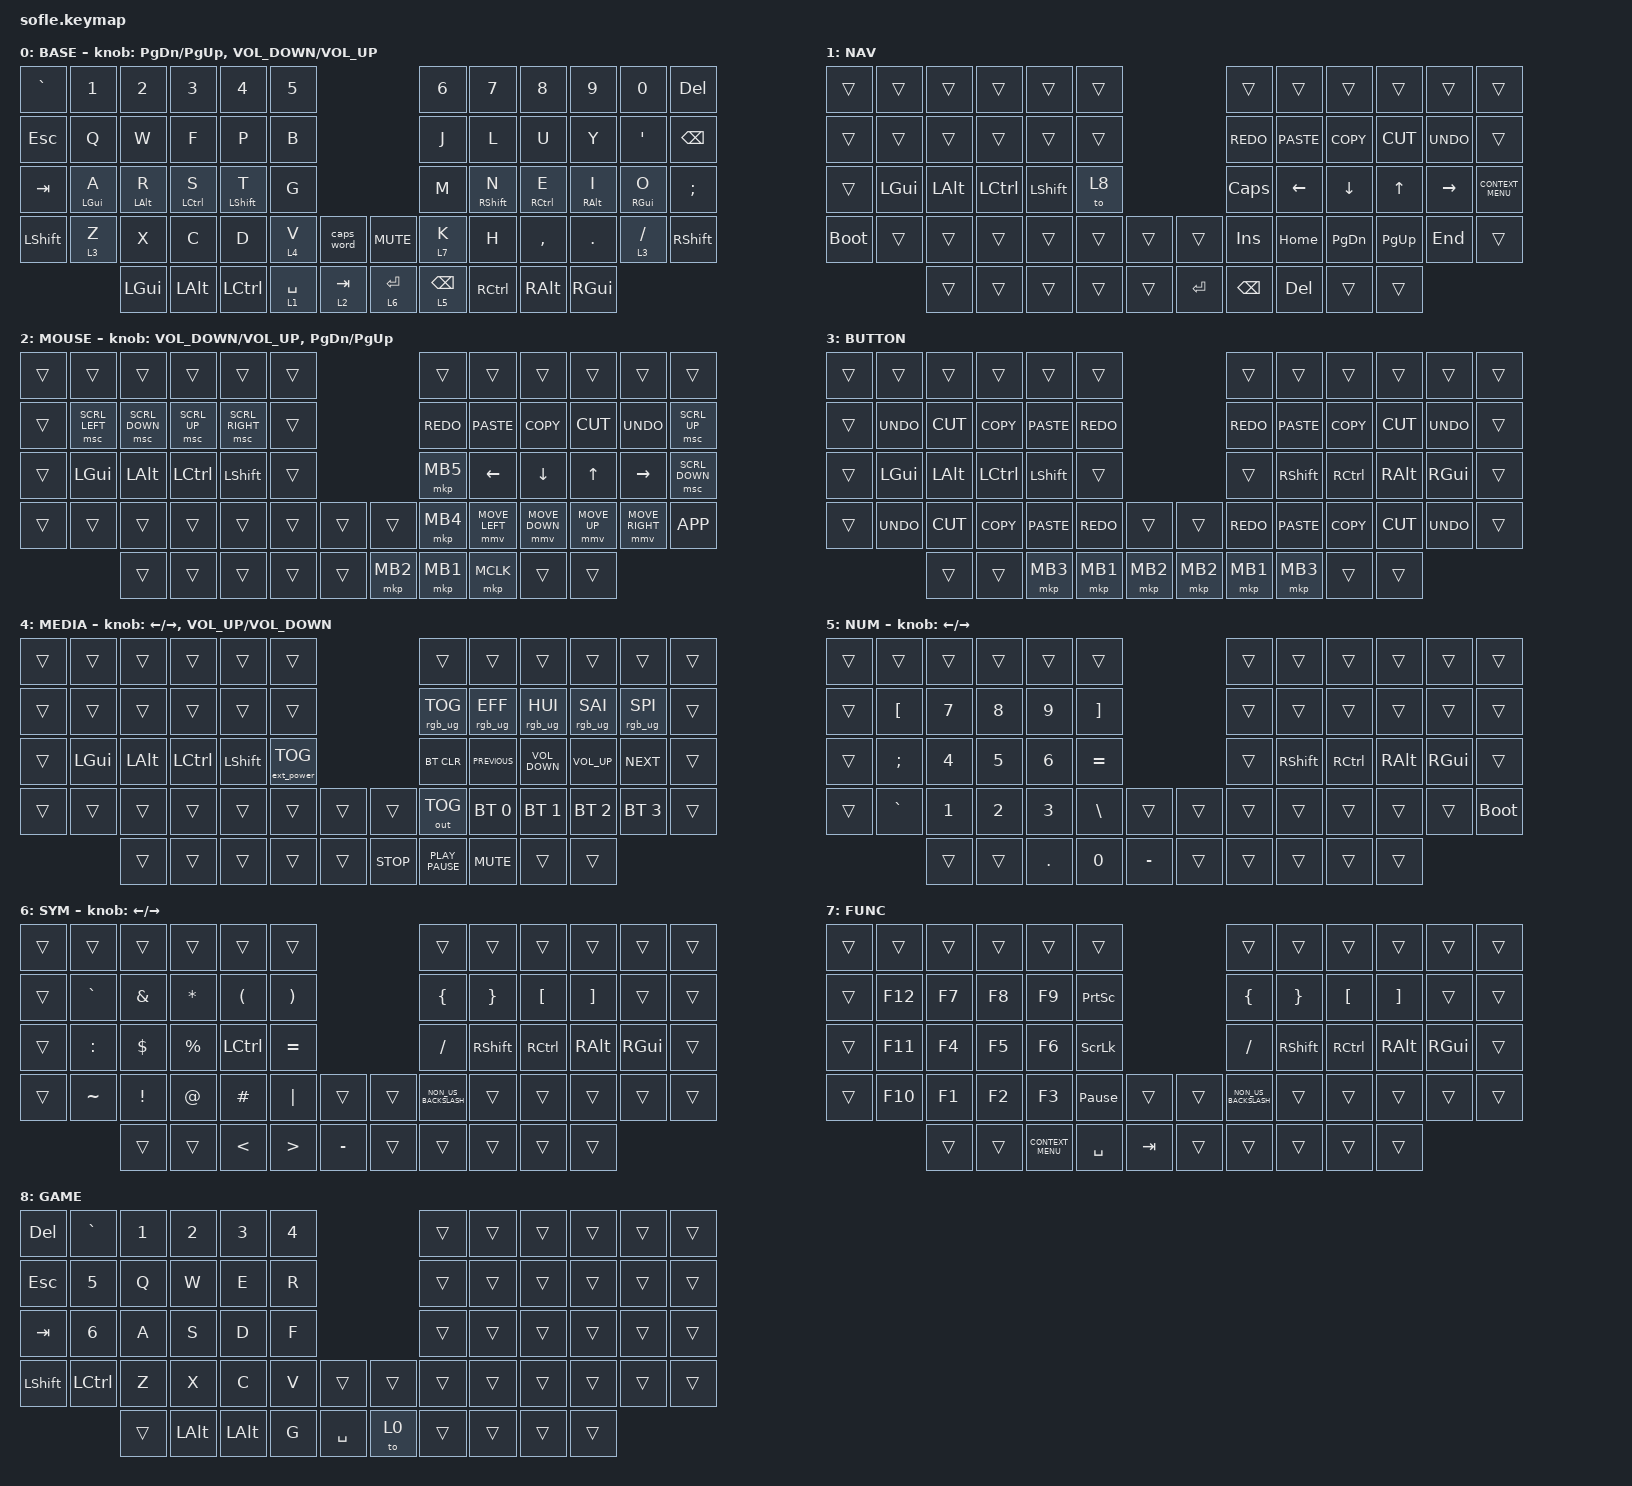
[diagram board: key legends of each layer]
/*
 * Copyright (c) 2020 The ZMK Contributors
 *
 * SPDX-License-Identifier: MIT
 */

#include <behaviors.dtsi>
#include <dt-bindings/zmk/bt.h>
#include <dt-bindings/zmk/ext_power.h>
#include <dt-bindings/zmk/keys.h>
#include <dt-bindings/zmk/outputs.h>
#include <dt-bindings/zmk/pointing.h>
#include <dt-bindings/zmk/rgb.h>
#include "zmk-helpers/helper.h"

// Source desired key-position labels

#include "zmk-helpers/key-labels/glove80.h"

// Source unicode-chars for desired languages

#include "zmk-helpers/unicode-chars/german.dtsi"

#define BASE 0
#define NAV 1
#define MOUSE 2
#define BUTTON 3
#define MEDIA 4
#define NUM 5
#define SYM 6
#define FUNC 7
#define GAME 8

&sk {
    release-after-ms = <1000>;
    quick-release;
    lazy;
    ignore-modifiers;
};

&mmv {
    acceleration-exponent = <1>;          // 1
    time-to-max-speed-ms = <500>;         // 300
    delay-ms = <0>;                       // 0
};

&lt {
    tapping-term-ms = <220>; // default 200
    flavor = "tap-preferred"; // or hold-preferred or tap-preferred
    quick-tap-ms = <180>;
};

/ {
    behaviors {
        bhm: balanced_homerow_mods {
            compatible = "zmk,behavior-hold-tap";
            #binding-cells = <2>;
            tapping-term-ms = <220>;    // <---[[moderate duration]]
            quick-tap-ms = <180>;
            flavor = "tap-preferred";
            bindings = <&kp>, <&kp>;
        };
    };

    // Activate ADJUST layer by pressing raise and lower

    conditional_layers {
        compatible = "zmk,conditional-layers";

        adjust_layer {
            if-layers = <1 1>;
            then-layer = <1>;
        };
    };

    keymap {
        compatible = "zmk,keymap";

        Base {
            label = "BASE";
            display-name = "BASE";

            // ------------------------------------------------------------------------------------------------------------
            // |   `   |  1  |  2  |  3   |  4   |  5   |                   |  6   |  7    |  8    |  9   |   0   |       |
            // |  ESC  |  Q  |  W  |  E   |  R   |  T   |                   |  Y   |  U    |  I    |  O   |   P   | BKSPC |
            // |  TAB  |  A  |  S  |  D   |  F   |  G   |                   |  H   |  J    |  K    |  L   |   ;   |   '   |
            // | SHIFT |  Z  |  X  |  C   |  V   |  B   |  MUTE  |  |       |  N   |  M    |  ,    |  .   |   /   | SHIFT |
            //               | GUI | ALT  | CTRL | LOWER|  ENTER |  | SPACE | RAISE| CTRL  | ALT   | GUI  |

            bindings = <
&kp GRAVE   &kp N1           &kp N2           &kp N3        &kp N4             &kp N5                                  &kp N6           &kp N7              &kp N8        &kp N9            &kp N0            &kp DELETE
&kp ESCAPE  &kp Q            &kp W            &kp F         &kp P              &kp B                                   &kp J            &kp L               &kp U         &kp Y             &kp APOSTROPHE    &kp BACKSPACE
&kp TAB     &bhm LEFT_GUI A  &bhm LEFT_ALT R  &bhm LCTRL S  &bhm LEFT_SHIFT T  &kp G                                   &kp M            &bhm RIGHT_SHIFT N  &bhm RCTRL E  &bhm RIGHT_ALT I  &bhm RIGHT_GUI O  &kp SEMICOLON
&kp LSHFT   &lt 3 Z          &kp X            &kp C         &kp D              &lt 4 V      &caps_word    &kp K_MUTE   &lt 7 K          &kp H               &kp COMMA     &kp DOT           &lt 3 SLASH       &kp RSHFT
                             &kp LGUI         &kp LALT      &kp LCTRL          &lt 1 SPACE  &lt 2 TAB     &lt 6 ENTER  &lt 5 BACKSPACE  &kp RCTRL           &kp RALT      &kp RGUI
            >;

            sensor-bindings =
                <&inc_dec_kp PAGE_DOWN PAGE_UP>,
                <&inc_dec_kp C_VOLUME_DOWN C_VOLUME_UP>;
        };

        NAVIGATION {
            label = "NAV";
            display-name = "NAV";
            bindings = <
&trans       &trans        &trans        &trans     &trans          &trans                       &trans         &trans          &trans         &trans        &trans      &trans
&trans       &trans        &trans        &trans     &trans          &trans                       &kp K_REDO     &kp K_PASTE     &kp K_COPY     &kp K_CUT     &kp K_UNDO  &trans
&trans       &kp LEFT_GUI  &kp LEFT_ALT  &kp LCTRL  &kp LEFT_SHIFT  &to 8                        &kp CAPS       &kp LEFT_ARROW  &kp DOWN       &kp UP_ARROW  &kp RIGHT   &kp K_CONTEXT_MENU
&bootloader  &trans        &trans        &trans     &trans          &trans  &trans    &trans     &kp INSERT     &kp HOME        &kp PAGE_DOWN  &kp PAGE_UP   &kp END     &trans
                           &trans        &trans     &trans          &trans  &trans    &kp ENTER  &kp BACKSPACE  &kp DELETE      &trans         &trans
            >;
        };

        MOUSE {
            label = "MOUSE";
            display-name = "MOUSE";
            bindings = <
&trans  &trans          &trans          &trans        &trans           &trans                      &trans      &trans          &trans          &trans        &trans           &trans
&trans  &msc SCRL_LEFT  &msc SCRL_DOWN  &msc SCRL_UP  &msc SCRL_RIGHT  &trans                      &kp K_REDO  &kp K_PASTE     &kp K_COPY      &kp K_CUT     &kp K_UNDO       &msc SCRL_UP
&trans  &kp LEFT_GUI    &kp LEFT_ALT    &kp LCTRL     &kp LEFT_SHIFT   &trans                      &mkp MB5    &kp LEFT_ARROW  &kp DOWN        &kp UP_ARROW  &kp RIGHT        &msc SCRL_DOWN
&trans  &trans          &trans          &trans        &trans           &trans  &trans    &trans    &mkp MB4    &mmv MOVE_LEFT  &mmv MOVE_DOWN  &mmv MOVE_UP  &mmv MOVE_RIGHT  &kp K_APP
                        &trans          &trans        &trans           &trans  &trans    &mkp MB2  &mkp MB1    &mkp MCLK       &trans          &trans
            >;

            sensor-bindings =
                <&inc_dec_kp C_VOLUME_DOWN C_VOLUME_UP>,
                <&inc_dec_kp PAGE_DOWN PAGE_UP>;
        };

        BUTTON {
            label = "BUTTON";
            display-name = "BUTTON";
            bindings = <
&trans  &trans        &trans        &trans      &trans          &trans                            &trans      &trans           &trans      &trans         &trans      &trans
&trans  &kp K_UNDO    &kp K_CUT     &kp K_COPY  &kp K_PASTE     &kp K_REDO                        &kp K_REDO  &kp K_PASTE      &kp K_COPY  &kp K_CUT      &kp K_UNDO  &trans
&trans  &kp LEFT_GUI  &kp LEFT_ALT  &kp LCTRL   &kp LEFT_SHIFT  &trans                            &trans      &kp RIGHT_SHIFT  &kp RCTRL   &kp RIGHT_ALT  &kp RGUI    &trans
&trans  &kp K_UNDO    &kp K_CUT     &kp K_COPY  &kp K_PASTE     &kp K_REDO  &trans      &trans    &kp K_REDO  &kp K_PASTE      &kp K_COPY  &kp K_CUT      &kp K_UNDO  &trans
                      &trans        &trans      &mkp MB3        &mkp MB1    &mkp MB2    &mkp MB2  &mkp MB1    &mkp MB3         &trans      &trans
            >;
        };

        MEDIA {
            label = "MEDIA";
            display-name = "MEDIA";
            bindings = <
&trans  &trans        &trans        &trans     &trans          &trans                                   &trans            &trans           &trans             &trans           &trans           &trans
&trans  &trans        &trans        &trans     &trans          &trans                                   &rgb_ug RGB_TOG   &rgb_ug RGB_EFF  &rgb_ug RGB_HUI    &rgb_ug RGB_SAI  &rgb_ug RGB_SPI  &trans
&trans  &kp LEFT_GUI  &kp LEFT_ALT  &kp LCTRL  &kp LEFT_SHIFT  &ext_power EP_TOG                        &bt BT_CLR        &kp K_PREVIOUS   &kp K_VOLUME_DOWN  &kp K_VOLUME_UP  &kp K_NEXT       &trans
&trans  &trans        &trans        &trans     &trans          &trans             &trans    &trans      &out OUT_TOG      &bt BT_SEL 0     &bt BT_SEL 1       &bt BT_SEL 2     &bt BT_SEL 3     &trans
                      &trans        &trans     &trans          &trans             &trans    &kp K_STOP  &kp K_PLAY_PAUSE  &kp K_MUTE       &trans             &trans
            >;

            sensor-bindings =
                <&inc_dec_kp LEFT_ARROW RIGHT_ARROW>,
                <&inc_dec_kp C_VOLUME_UP C_VOLUME_DOWN>;
        };

        Num {
            label = "NUM";
            display-name = "NUM";
            bindings = <
&trans  &trans            &trans        &trans        &trans        &trans                                  &trans  &trans           &trans     &trans         &trans    &trans
&trans  &kp LEFT_BRACKET  &kp NUMBER_7  &kp NUMBER_8  &kp NUMBER_9  &kp RIGHT_BRACKET                       &trans  &trans           &trans     &trans         &trans    &trans
&trans  &kp SEMICOLON     &kp NUMBER_4  &kp NUMBER_5  &kp NUMBER_6  &kp EQUAL                               &trans  &kp RIGHT_SHIFT  &kp RCTRL  &kp RIGHT_ALT  &kp RGUI  &trans
&trans  &kp GRAVE         &kp NUMBER_1  &kp NUMBER_2  &kp NUMBER_3  &kp BACKSLASH      &trans       &trans  &trans  &trans           &trans     &trans         &trans    &bootloader
                          &trans        &trans        &kp PERIOD    &kp NUMBER_0       &kp MINUS    &trans  &trans  &trans           &trans     &trans
            >;

            sensor-bindings = <&inc_dec_kp LEFT_ARROW RIGHT_ARROW>;
        };

        Sym {
            label = "SYM";
            display-name = "SYM";
            bindings = <
&trans  &trans     &trans           &trans        &trans                &trans                                      &trans                &trans           &trans            &trans             &trans    &trans
&trans  &kp GRAVE  &kp AMPERSAND    &kp ASTERISK  &kp LEFT_PARENTHESIS  &kp RIGHT_PARENTHESIS                       &kp LEFT_BRACE        &kp RIGHT_BRACE  &kp LEFT_BRACKET  &kp RIGHT_BRACKET  &trans    &trans
&trans  &kp COLON  &kp DOLLAR       &kp PERCENT   &kp LCTRL             &kp EQUAL                                   &kp SLASH             &kp RIGHT_SHIFT  &kp RCTRL         &kp RIGHT_ALT      &kp RGUI  &trans
&trans  &kp TILDE  &kp EXCLAMATION  &kp AT_SIGN   &kp HASH              &kp PIPE               &trans       &trans  &kp NON_US_BACKSLASH  &trans           &trans            &trans             &trans    &trans
                   &trans           &trans        &kp LESS_THAN         &kp GREATER_THAN       &kp MINUS    &trans  &trans                &trans           &trans            &trans
            >;

            sensor-bindings = <&inc_dec_kp LEFT_ARROW RIGHT>;
        };

        Fun {
            label = "FUNC";
            display-name = "FUNC";
            bindings = <
&trans  &trans   &trans  &trans  &trans              &trans                              &trans                &trans           &trans            &trans             &trans    &trans
&trans  &kp F12  &kp F7  &kp F8  &kp F9              &kp PRINTSCREEN                     &kp LEFT_BRACE        &kp RIGHT_BRACE  &kp LEFT_BRACKET  &kp RIGHT_BRACKET  &trans    &trans
&trans  &kp F11  &kp F4  &kp F5  &kp F6              &kp SCROLLLOCK                      &kp SLASH             &kp RIGHT_SHIFT  &kp RCTRL         &kp RIGHT_ALT      &kp RGUI  &trans
&trans  &kp F10  &kp F1  &kp F2  &kp F3              &kp PAUSE_BREAK  &trans     &trans  &kp NON_US_BACKSLASH  &trans           &trans            &trans             &trans    &trans
                 &trans  &trans  &kp K_CONTEXT_MENU  &kp SPACE        &kp TAB    &trans  &trans                &trans           &trans            &trans
            >;
        };

        qwerty {
            label = "GAME";
            display-name = "GAME";
            bindings = <
&kp DELETE      &kp GRAVE     &kp NUMBER_1  &kp NUMBER_2  &kp NUMBER_3  &kp NUMBER_4                       &trans  &trans  &trans  &trans  &trans  &trans
&kp ESCAPE      &kp N5        &kp Q         &kp W         &kp E         &kp R                              &trans  &trans  &trans  &trans  &trans  &trans
&kp TAB         &kp NUMBER_6  &kp A         &kp S         &kp D         &kp F                              &trans  &trans  &trans  &trans  &trans  &trans
&kp LEFT_SHIFT  &kp LCTRL     &kp Z         &kp X         &kp C         &kp V         &trans       &trans  &trans  &trans  &trans  &trans  &trans  &trans
                              &trans        &kp LEFT_ALT  &kp LEFT_ALT  &kp G         &kp SPACE    &to 0   &trans  &trans  &trans  &trans
            >;
        };
    };
};
